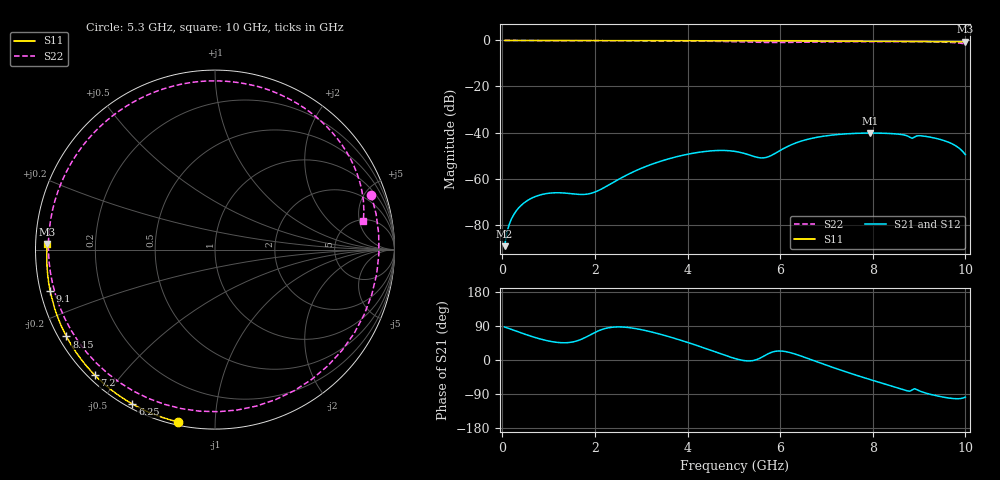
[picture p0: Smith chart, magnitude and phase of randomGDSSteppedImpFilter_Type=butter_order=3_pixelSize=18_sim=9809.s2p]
! freq	dB(S11)	phase(S11)	dB(S12)	phase(S12)
!  dB(S21)	phase(S21)	dB(S22)	phase(S22)
!S-par simulation data
#  GHz  S  DB  R 50
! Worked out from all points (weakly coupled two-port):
!   200 points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, 50 MHz to 10 GHz, reference 50 ohm
!   highest |S21| = -40.24 dB at 7.95 GHz (marker M1); lowest = -89.4 dB at 50 MHz (marker M2)
!   lowest |S11| = -0.6 dB at 10 GHz (marker M3), VSWR 29.56, Z = 1.69 + j0.822 ohm
!   |S11| at or under -10 dB: nowhere
!   |S22| runs from -1.5 to 0.0 dB; largest |S21 - S12| = 0
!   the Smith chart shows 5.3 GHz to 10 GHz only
!   S11 on the Smith chart (normalised r, x): 5.3 GHz: 0.02, -0.81; 6.25 GHz: 0.02, -0.60; 7.2 GHz: 0.02, -0.43; 8.15 GHz: 0.02, -0.27; 9.1 GHz: 0.03, -0.12; 10 GHz: 0.03, +0.02
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0.05  -0.00 -1.1  -89.39 87.0  -89.39 87.0  -0.00 -3.7
0.15  -0.01 -3.2  -79.92 82.9  -79.92 82.9  -0.01 -10.9
0.45  -0.01 -9.4  -70.91 69.7  -70.91 69.7  -0.04 -32.3
0.9  -0.02 -18.7  -66.73 52.9  -66.73 52.9  -0.08 -62.8
1.75  -0.05 -36.0  -66.92 57.0  -66.92 57.0  -0.12 -113.1
2.6  -0.07 -52.7  -59.39 87.0  -59.39 87.0  -0.15 -155.7
3.4  -0.09 -68.0  -52.61 68.4  -52.61 68.4  -0.19 166.0
3.95  -0.11 -78.1  -49.67 48.4  -49.67 48.4  -0.25 136.9
4.45  -0.13 -87.1  -48.08 27.9  -48.08 27.9  -0.34 104.5
4.75  -0.14 -92.4  -47.79 14.9  -47.79 14.9  -0.43 80.1
5.05  -0.15 -97.7  -48.29 3.0  -48.29 3.0  -0.57 49.9
5.3  -0.16 -102.0  -49.53 -2.4  -49.53 -2.4  -0.70 19.3
5.55  -0.17 -106.3  -50.97 3.9  -50.97 3.9  -0.83 -16.0
5.85  -0.19 -111.4  -49.55 21.6  -49.55 21.6  -0.90 -60.7
6.25  -0.21 -118.1  -45.25 18.3  -45.25 18.3  -0.83 -114.1
6.7  -0.24 -125.6  -42.46 -0.5  -42.46 -0.5  -0.70 -159.7
7.2  -0.28 -133.9  -40.96 -22.2  -40.96 -22.2  -0.61 163.0
7.95  -0.35 -146.4  -40.24 -51.9  -40.24 -51.9  -0.54 119.7
8.15  -0.37 -149.7  -40.28 -59.3  -40.28 -59.3  -0.53 109.4
8.35  -0.39 -153.1  -40.42 -66.6  -40.42 -66.6  -0.53 99.4
9.1  -0.47 -165.8  -41.56 -85.6  -41.56 -85.6  -0.58 62.7
10  -0.59 178.1  -49.65 -97.8  -49.65 -97.8  -1.50 10.8
